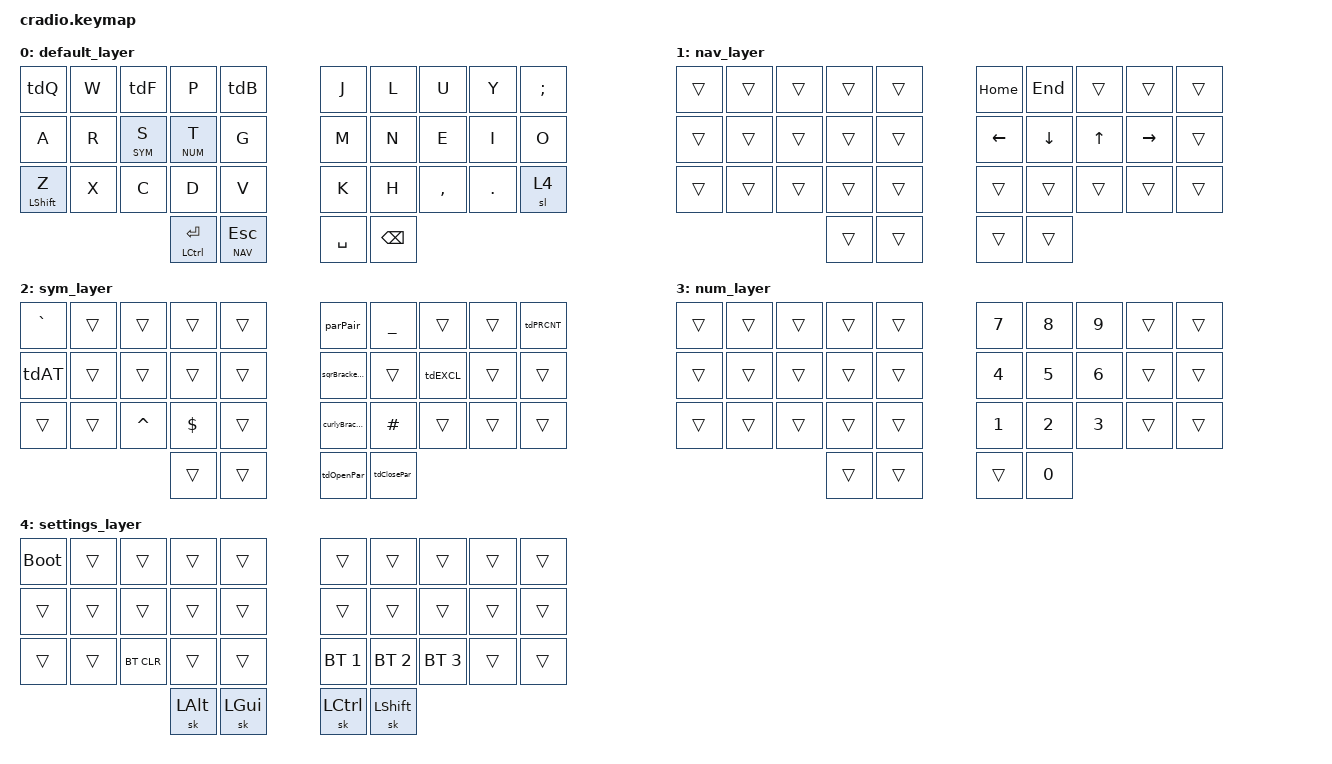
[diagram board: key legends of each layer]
#include <behaviors.dtsi>
#include <dt-bindings/zmk/keys.h>
#include <dt-bindings/zmk/bt.h>

// Mod Tap
#define RET_CTRL &mt LCTRL RET
#define Z_SHFT &mt LSHIFT Z 

#define ESC_NAV &lt NAV ESC
#define S_SYM &lt SYM S
#define T_NUM &lt NUM T
#define S_NUM &lt NUM Y

// Layer definitions
#define COLMAK 0
#define NAV 1
#define SYM 2 
#define NUM 3
#define EXT 4 

&sl {
    release-after-ms = <2000>;
};

/ {
    macros {
        // Taking a screenshot with Win+Shift+S
        screenshot: screenshot {
            label = "screenshot";
            compatible = "zmk,behavior-macro";
            #binding-cells = <0>;
            bindings
                = <&macro_press &kp LGUI &kp LSHIFT>
                , <&macro_tap &kp S>
                , <&macro_release &kp LGUI &kp LSHIFT>
                ;
        };

        // Task Manager
        taskMgr: taskMgr{
            label = "taskManager";
            compatible = "zmk,behavior-macro";
            #binding-cells = <0>;
            bindings
                = <&macro_press &kp LCTRL &kp LSHIFT>
                , <&macro_tap &kp ESC>
                , <&macro_release &kp LCTRL &kp LSHIFT>
                ;
        };
        
        // Run WinVer
        winVer: winVer{
            label = "winver";
            compatible = "zmk,behavior-macro";
            #binding-cells = <0>;
            bindings
                = <&macro_press &kp LWIN>
                , <&macro_tap &kp R>
                , <&macro_release &kp LWIN>
                , <&macro_tap &kp W &kp I &kp N &kp V &kp E &kp R>
                , <&macro_tap &kp RET>
                ;
        };

        parPair: parPair{
            label = "parPair";
            compatible = "zmk,behavior-macro";
            #binding-cells = <0>;
            bindings
                = <&macro_tap &kp LPAR &kp RPAR>
                ;
        };

        sqrBracketPair: sqrBracketPair{
            label = "sqrBracketPair";
            compatible = "zmk,behavior-macro";
            #binding-cells = <0>;
            bindings
                = <&macro_tap &kp LBKT &kp RBKT>
                ;
        };

        curlyBracePair: curlyBracePair{
            label = "curlyBracePair";
            compatible = "zmk,behavior-macro";
            #binding-cells = <0>;
            bindings
                = <&macro_tap &kp LBRC &kp RBRC>
                ;
        };
    };

    combos {
        compatible = "zmk,combos";
     
        // Both hand external thumb key
        combo_screenshot {
            timeout-ms = <300>;
            key-positions = <31 32>;
            bindings = <&screenshot>;
        };
        
        // Right hand both thumb
        combo_taskMgr {
            timeout-ms = <300>;
            key-positions = <32 33>;
            bindings = <&taskMgr>;
        };

        // Left hand both thumb
        combo_winVer {
            timeout-ms = <300>;
            key-positions = <30 31>;
            bindings = <&winVer>;
        };
    };

    behaviors {
        tdQ: tap_dance_0 {
            compatible = "zmk,behavior-tap-dance";
            label = "TAP_DANCE_0";
            #binding-cells = <0>;
            tapping-term-ms = <200>;
            bindings = <&kp Q>, <&kp QMARK>;
        };
        
        tdF: tap_dance_3 {
            compatible = "zmk,behavior-tap-dance";
            label = "TAP_DANCE_3";
            #binding-cells = <0>;
            tapping-term-ms = <200>;
            bindings = <&kp F>, <&kp FSLH>;
        };
        
        tdB: tap_dance_4 {
            compatible = "zmk,behavior-tap-dance";
            label = "TAP_DANCE_4";
            #binding-cells = <0>;
            tapping-term-ms = <200>;
            bindings = <&kp B>, <&kp BSLH>;
        };
        
        tdAT: tap_dance_5 {
            compatible = "zmk,behavior-tap-dance";
            label = "TAP_DANCE_5";
            #binding-cells = <0>;
            tapping-term-ms = <200>;
            bindings = <&kp AT>, <&kp ASTRK>, <&kp AMPS>;
        };
        
        tdEXCL: tap_dance_6 {
            compatible = "zmk,behavior-tap-dance";
            label = "TAP_DANCE_6";
            #binding-cells = <0>;
            tapping-term-ms = <200>;
            bindings = <&kp EXCL>, <&kp EQUAL>;
        };

        tdPRCNT: tap_dance_7 {
            compatible = "zmk,behavior-tap-dance";
            label = "TAP_DANCE_7";
            #binding-cells = <0>;
            tapping-term-ms = <200>;
            bindings = <&kp PRCNT>, <&kp PIPE>;
        };

        tdOpenPar: tap_dance_9 {
            compatible = "zmk,behavior-tap-dance";
            label = "TAP_DANCE_9";
            #binding-cells = <0>;
            tapping-term-ms = <200>;
            bindings = <&kp LPAR>, <&kp LBKT>, <&kp LBRC>;
        };

        tdClosePar: tap_dance_10 {
            compatible = "zmk,behavior-tap-dance";
            label = "TAP_DANCE_10";
            #binding-cells = <0>;
            tapping-term-ms = <200>;
            bindings = <&kp RPAR>, <&kp RBKT>, <&kp RBRC>;
        };
    };

    keymap {
        compatible = "zmk,keymap";
        // ========================================================================================================================================================================================
        //     __________  __    ________  ______    __ __      ____  __  __
        //    / ____/ __ \/ /   / ____/  |/  /   |  / //_/     / __ \/ / / /
        //   / /   / / / / /   / __/ / /|_/ / /| | / ,< ______/ / / / /_/ / 
        //  / /___/ /_/ / /___/ /___/ /  / / ___ |/ /| /_____/ /_/ / __  /  
        //  \____/\____/_____/_____/_/  /_/_/  |_/_/ |_|    /_____/_/ /_/   
        //
        //
        // +-----+-----+-----+-----+-------+  +-----+-----+-----+-----+-----+
        // |  Q  |  W  |(F/) |  P  |  (B\) |  |  J  |  L  |  U  |  Y  |  ;  |
        // +-----+-----+-----+-----+-------+  +-----+-----+-----+-----+-----+
        // |  A  |  R  |  S  |  T  |   G   |  |  M  |  N  |  E  |  I  |  O  |
        // +-----+-----+-----+-----+-------+  +-----+-----+-----+-----+-----+
        // |  Z  |  X  |  C  |  D  |   V   |  |  K  |  H  |  ,  |  .  |SL(4)|
        // +-----+-----+-----+-----+-------+  +-----+-----+-----+-----+-----+
        //                   | RET |ESC/NAV|  | SPC |BSPC |
        //                   +-----+-------+  +-----+-----+
        default_layer {
            bindings = <
                &tdQ   &kp W &tdF  &kp P     &tdB            &kp J     &kp L  &kp U     &kp Y   &kp SEMI
                &kp A  &kp R S_SYM T_NUM     &kp G           &kp M     &kp N  &kp E     &kp I   &kp O
                Z_SHFT &kp X &kp C &kp D     &kp V           &kp K     &kp H  &kp COMMA &kp DOT &sl 4
                                   RET_CTRL  ESC_NAV         &kp SPACE &kp BSPC
            >;
        };

        // ========================================================================================================================================================================================
        //      _   _____ _    __   __    _____  ____________ 
        //     / | / /   | |  / /  / /   /   \ \/ / ____/ __ \
        //    /  |/ / /| | | / /  / /   / /| |\  / __/ / /_/ /
        //   / /|  / ___ | |/ /  / /___/ ___ |/ / /___/ _, _/ 
        //  /_/ |_/_/  |_|___/  /_____/_/  |_/_/_____/_/ |_|  
        //
        // +-----+-----+-----+-----+-----+  +-----+-----+-----+-----+-----+-----+
        // |     |     |     |     |     |  |HOME | END |     |     |     |     |
        // +-----+-----+-----+-----+-----+  +-----+-----+-----+-----+-----+-----+
        // |     |     |     |     |     |  |LEFT |DOWN | UP  |RIGHT|     |     |
        // +-----+-----+-----+-----+-----+  +-----+-----+-----+-----+-----+-----+
        // |     |     |     |     |     |  |     |     |     |     |     |     |
        // +-----+-----+-----+-----+-----+  +-----+-----+-----+-----+-----+-----+
        //                   |     |     |  |     |     |
        //                   +-----+-----+  +-----+-----+
        nav_layer{
            bindings = <
                &trans &trans &trans &trans &trans        &kp HOME &kp END  &trans &trans    &trans 
                &trans &trans &trans &trans &trans        &kp LEFT &kp DOWN &kp UP &kp RIGHT &trans 
                &trans &trans &trans &trans &trans        &trans   &trans   &trans &trans    &trans 
                                     &trans &trans        &trans   &trans
            >;
        };
  
        // ========================================================================================================================================================================================
        //     _______  ____  ___   __    _____  ____________ 
        //    / ___/\ \/ /  |/  /  / /   /   \ \/ / ____/ __ \
        //    \__ \  \  / /|_/ /  / /   / /| |\  / __/ / /_/ /
        //    __/ /  / / /  / /  / /___/ ___ |/ / /___/ _, _/ 
        //  /____/  /_/_/  /_/  /_____/_/  |_/_/_____/_/ |_|  
        //
        // +-----+-----+-----+-----+-----+  +-----+-----+-----+-----+-----+
        // |  `  |     |     |     |     |  |     |  _  |     |     |TD(%)|
        // +-----+-----+-----+-----+-----+  +-----+-----+-----+-----+-----+
        // |TD(@)|     |     |     |     |  |     |     |TD(!)|     |     |
        // +-----+-----+-----+-----+-----+  +-----+-----+-----+-----+-----+
        // |     |     |  ^  |  $  |     |  |     |  #  |     |     |     |
        // +-----+-----+-----+-----+-----+  +-----+-----+-----+-----+-----+
        //                   |     |     |  |TD([{|TD)]}|
        //                   +-----+-----+  +-----+-----+
        sym_layer{
            bindings = <
                &kp GRAVE &trans &trans    &trans   &trans       &parPair        &kp UNDER   &trans  &trans &tdPRCNT 
                &tdAT     &trans &trans    &trans   &trans       &sqrBracketPair &trans      &tdEXCL &trans &trans   
                &trans    &trans &kp CARET &kp DLLR &trans       &curlyBracePair &kp HASH    &trans  &trans &trans   
                                           &trans   &trans       &tdOpenPar      &tdClosePar
            >;
        };

        // ========================================================================================================================================================================================
        //      _   ____  ____  ___   __    _____  ____________ 
        //     / | / / / / /  |/  /  / /   /   \ \/ / ____/ __ \
        //    /  |/ / / / / /|_/ /  / /   / /| |\  / __/ / /_/ /
        //   / /|  / /_/ / /  / /  / /___/ ___ |/ / /___/ _, _/ 
        //  /_/ |_/\____/_/  /_/  /_____/_/  |_/_/_____/_/ |_|  
        // +-----+-----+-----+-----+-----+  +-----+-----+-----+-----+-----+
        // |     |     |     |     |     |  |  7  |  8  |  9  |     |     |
        // +-----+-----+-----+-----+-----+  +-----+-----+-----+-----+-----+
        // |     |     |     |     |     |  |  4  |  5  |  6  |     |     |
        // +-----+-----+-----+-----+-----+  +-----+-----+-----+-----+-----+
        // |     |     |     |     |     |  |  1  |  2  |  3  |     |     |
        // +-----+-----+-----+-----+-----+  +-----+-----+-----+-----+-----+
        //                   |     |     |  |     |  0  |
        //                   +-----+-----+  +-----+-----+
        num_layer{
            bindings = <
                &trans &trans &trans &trans &trans        &kp N7 &kp N8 &kp N9 &trans &trans 
                &trans &trans &trans &trans &trans        &kp N4 &kp N5 &kp N6 &trans &trans
                &trans &trans &trans &trans &trans        &kp N1 &kp N2 &kp N3 &trans &trans 
                                     &trans &trans        &trans &kp N0  
            >;
        };
  
        // ========================================================================================================================================================================================
        //      _______  _______________   _______ ________  _   __   __    _____  ____________
        //     / ____/ |/ /_  __/ ____/ | / / ___//  _/ __ \/ | / /  / /   /   \ \/ / ____/ __ \
        //    / __/  |   / / / / __/ /  |/ /\__ \ / // / / /  |/ /  / /   / /| |\  / __/ / /_/ /
        //   / /___ /   | / / / /___/ /|  /___/ // // /_/ / /|  /  / /___/ ___ |/ / /___/ _, _/ 
        //  /_____//_/|_|/_/ /_____/_/ |_//____/___/\____/_/ |_/  /_____/_/  |_/_/_____/_/ |_|  
        // +-----+-----+------+-----+-----+  +-----+-----+-----+-----+-----+
        // | BL  |     |      |     |     |  |     |     |     |     |     |
        // +-----+-----+------+-----+-----+  +-----+-----+-----+-----+-----+
        // |     |     |      |     |     |  |     |     |     |     |     |
        // +-----+-----+------+-----+-----+  +-----+-----+-----+-----+-----+
        // |     |     |BT_CLR|     |     |  |BT_1 |BT_2 |BT_3 |     |     |
        // +-----+-----+------+-----+-----+  +-----+-----+-----+-----+-----+
        //                    |LALT |LGUI |  |LCTRL|LSHFT|
        //                    +-----+-----+  +-----+-----+
        settings_layer {
            bindings = <
                &bootloader &trans &trans     &trans &trans           &trans       &trans       &trans       &trans &trans
                &trans      &trans &trans     &trans &trans           &trans       &trans       &trans       &trans &trans
                &trans      &trans &bt BT_CLR &trans &trans           &bt BT_SEL 1 &bt BT_SEL 2 &bt BT_SEL 3 &trans &trans
                                              &sk LALT &sk LGUI       &sk LCTRL    &sk LSHIFT
            >;
        };
    };
};
